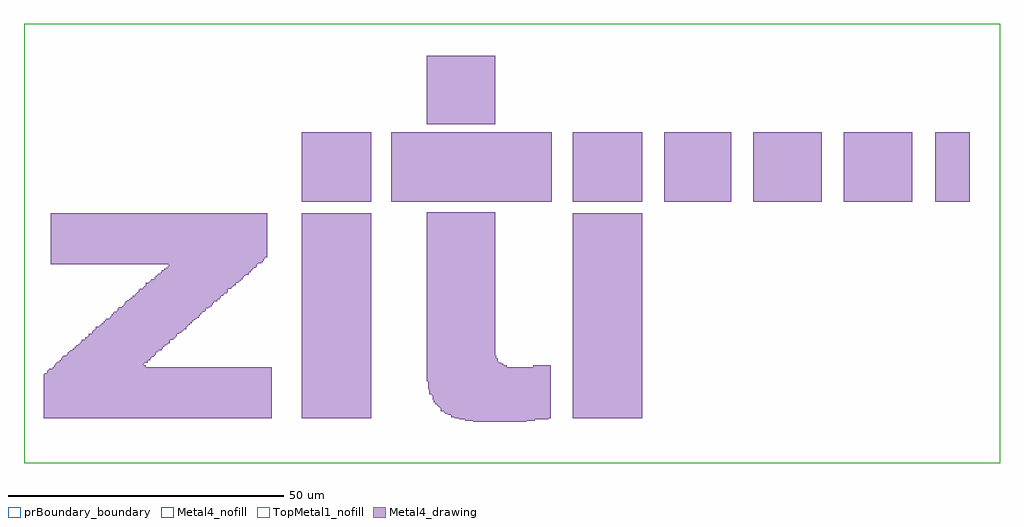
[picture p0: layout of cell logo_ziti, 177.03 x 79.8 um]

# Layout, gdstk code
import gdstk
lib = gdstk.Library(unit=1e-6, precision=1e-09)
def R(c, l, rs):  # rectangles x0, y0, x1, y1
    for r in rs: c.add(gdstk.rectangle(r[:2], r[2:], *l))
def P(c, l, *ps):  # polygons
    for p in ps: c.add(gdstk.Polygon(p, *l))
Metal4_drawing = (50, 0)
Metal4_nofill = (50, 23)
TopMetal1_nofill = (126, 23)
prBoundary_boundary = (189, 4)

logo_ziti = lib.new_cell('logo_ziti')
R(logo_ziti, Metal4_drawing, [(50.4,8.19,63,45.36), (99.54,8.19,112.14,45.36), (50.4,47.46,63,60.06), (66.57,47.46,95.76,60.06), (99.54,47.46,112.14,60.06), (116.13,47.46,128.31,60.06), (132.3,47.46,144.69,60.06), (148.68,47.46,161.07,60.06), (165.27,47.46,171.57,60.06), (73.08,61.53,85.47,73.92)])
P(logo_ziti, Metal4_drawing, [(3.57,8.19),(3.57,16.17),(3.78,16.17),(3.78,16.38),(4.2,16.38),(4.2,16.8),(4.41,16.8),(4.41,17.01),(4.62,17.01),(4.62,17.22),(5.25,17.22),(5.25,17.43),(5.46,17.43),(5.46,17.85),(5.67,17.85),(5.67,18.06),(5.88,18.06),(5.88,18.27),(6.09,18.27),(6.09,18.48),(6.51,18.48),(6.51,18.69),(6.72,18.69),(6.72,19.11),(6.93,19.11),(6.93,19.32),(7.14,19.32),(7.14,19.53),(7.77,19.53),(7.77,19.74),(7.98,19.74),(7.98,20.16),(8.19,20.16),(8.19,20.37),(8.4,20.37),(8.4,20.58),(8.82,20.58),(8.82,20.79),(9.24,20.79),(9.24,21.21),(9.45,21.21),(9.45,21.42),(9.87,21.42),(9.87,21.63),(10.08,21.63),(10.08,21.84),(10.29,21.84),(10.29,22.05),(10.5,22.05),(10.5,22.47),(11.13,22.47),(11.13,22.89),(11.55,22.89),(11.55,23.1),(11.76,23.1),(11.76,23.52),(12.39,23.52),(12.39,23.94),(12.6,23.94),(12.6,24.15),(12.81,24.15),(12.81,24.36),(13.02,24.36),(13.02,24.78),(13.65,24.78),(13.65,24.99),(13.86,24.99),(13.86,25.2),(14.07,25.2),(14.07,25.41),(14.49,25.41),(14.49,25.83),(14.7,25.83),(14.7,26.04),(14.91,26.04),(14.91,26.25),(15.54,26.25),(15.54,26.46),(15.75,26.46),(15.75,26.67),(15.96,26.67),(15.96,27.09),(16.17,27.09),(16.17,27.3),(16.38,27.3),(16.38,27.51),(16.8,27.51),(16.8,27.72),(17.01,27.72),(17.01,28.14),(17.22,28.14),(17.22,28.35),(17.85,28.35),(17.85,28.56),(18.06,28.56),(18.06,28.77),(18.27,28.77),(18.27,29.19),(18.48,29.19),(18.48,29.4),(18.69,29.4),(18.69,29.61),(19.11,29.61),(19.11,29.82),(19.32,29.82),(19.32,30.03),(19.74,30.03),(19.74,30.45),(20.16,30.45),(20.16,30.66),(20.37,30.66),(20.37,30.87),(20.58,30.87),(20.58,31.08),(20.79,31.08),(20.79,31.5),(21,31.5),(21,31.71),(21.63,31.71),(21.63,31.92),(21.84,31.92),(21.84,32.13),(22.05,32.13),(22.05,32.76),(22.68,32.76),(22.68,32.97),(22.89,32.97),(22.89,33.18),(23.1,33.18),(23.1,33.39),(23.73,33.39),(23.73,33.81),(23.94,33.81),(23.94,34.02),(24.15,34.02),(24.15,34.23),(24.36,34.23),(24.36,34.44),(24.78,34.44),(24.78,34.65),(24.99,34.65),(24.99,35.07),(25.41,35.07),(25.41,35.28),(25.83,35.28),(25.83,35.49),(26.04,35.49),(26.04,35.7),(26.25,35.7),(26.25,36.12),(4.83,36.12),(4.83,45.36),(44.1,45.36),(44.1,37.38),(43.68,37.38),(43.68,37.17),(43.47,37.17),(43.47,36.75),(43.26,36.75),(43.26,36.54),(43.05,36.54),(43.05,36.33),(42.42,36.33),(42.42,36.12),(42.21,36.12),(42.21,35.7),(42,35.7),(42,35.49),(41.58,35.49),(41.58,35.28),(41.37,35.28),(41.37,35.07),(41.16,35.07),(41.16,34.65),(40.74,34.65),(40.74,34.23),(40.11,34.23),(40.11,34.02),(39.9,34.02),(39.9,33.81),(39.69,33.81),(39.69,33.39),(39.27,33.39),(39.27,33.18),(39.06,33.18),(39.06,32.97),(38.85,32.97),(38.85,32.76),(38.43,32.76),(38.43,32.34),(38.01,32.34),(38.01,32.13),(37.8,32.13),(37.8,31.92),(37.59,31.92),(37.59,31.71),(36.96,31.71),(36.96,31.08),(36.75,31.08),(36.75,30.87),(36.33,30.87),(36.33,30.66),(36.12,30.66),(36.12,30.45),(35.7,30.45),(35.7,30.03),(35.49,30.03),(35.49,29.82),(35.07,29.82),(35.07,29.4),(34.44,29.4),(34.44,29.19),(34.23,29.19),(34.23,28.77),(34.02,28.77),(34.02,28.56),(33.81,28.56),(33.81,28.35),(33.39,28.35),(33.39,28.14),(32.97,28.14),(32.97,27.72),(32.76,27.72),(32.76,27.51),(32.34,27.51),(32.34,27.3),(32.13,27.3),(32.13,27.09),(31.92,27.09),(31.92,26.67),(31.71,26.67),(31.71,26.46),(31.29,26.46),(31.29,26.25),(31.08,26.25),(31.08,26.04),(30.66,26.04),(30.66,25.83),(30.45,25.83),(30.45,25.41),(30.03,25.41),(30.03,25.2),(29.82,25.2),(29.82,24.99),(29.61,24.99),(29.61,24.78),(29.4,24.78),(29.4,24.36),(28.98,24.36),(28.98,24.15),(28.77,24.15),(28.77,23.94),(28.56,23.94),(28.56,23.73),(28.14,23.73),(28.14,23.52),(27.72,23.52),(27.72,23.1),(27.51,23.1),(27.51,22.89),(27.3,22.89),(27.3,22.68),(27.09,22.68),(27.09,22.47),(26.46,22.47),(26.46,21.84),(26.04,21.84),(26.04,21.63),(25.83,21.63),(25.83,21.42),(25.41,21.42),(25.41,21.21),(25.2,21.21),(25.2,20.79),(24.99,20.79),(24.99,20.58),(24.36,20.58),(24.36,20.37),(24.15,20.37),(24.15,20.16),(23.94,20.16),(23.94,19.74),(23.73,19.74),(23.73,19.53),(23.52,19.53),(23.52,19.32),(23.1,19.32),(23.1,19.11),(22.89,19.11),(22.89,18.69),(22.47,18.69),(22.47,18.27),(21.84,18.27),(21.84,18.06),(21.63,18.06),(21.63,17.85),(22.05,17.85),(22.05,17.43),(44.94,17.43),(44.94,8.19)],
  [(81.48,7.56),(81.48,7.77),(80.01,7.77),(80.01,7.98),(78.96,7.98),(78.96,8.19),(78.12,8.19),(78.12,8.4),(77.49,8.4),(77.49,8.82),(76.86,8.82),(76.86,9.03),(76.44,9.03),(76.44,9.24),(76.23,9.24),(76.23,9.45),(75.6,9.45),(75.6,10.08),(75.39,10.08),(75.39,10.29),(75.18,10.29),(75.18,10.5),(74.97,10.5),(74.97,10.71),(74.55,10.71),(74.55,11.13),(74.34,11.13),(74.34,11.55),(74.13,11.55),(74.13,12.39),(73.92,12.39),(73.92,12.6),(73.5,12.6),(73.5,13.44),(73.29,13.44),(73.29,14.91),(73.08,14.91),(73.08,45.57),(85.47,45.57),(85.47,19.53),(85.68,19.53),(85.68,19.11),(85.89,19.11),(85.89,18.48),(86.1,18.48),(86.1,18.27),(86.52,18.27),(86.52,18.06),(86.94,18.06),(86.94,17.85),(87.57,17.85),(87.57,17.43),(92.4,17.43),(92.4,17.85),(95.55,17.85),(95.55,8.19),(95.13,8.19),(95.13,7.98),(92.61,7.98),(92.61,7.77),(91.14,7.77),(91.14,7.56)])
R(logo_ziti, Metal4_nofill, [(0,0,177.03,79.8)])
R(logo_ziti, TopMetal1_nofill, [(0,0,177.03,79.8)])
R(logo_ziti, prBoundary_boundary, [(0,0,177.03,79.8)])

lib.write_gds('logo_ziti.gds')
